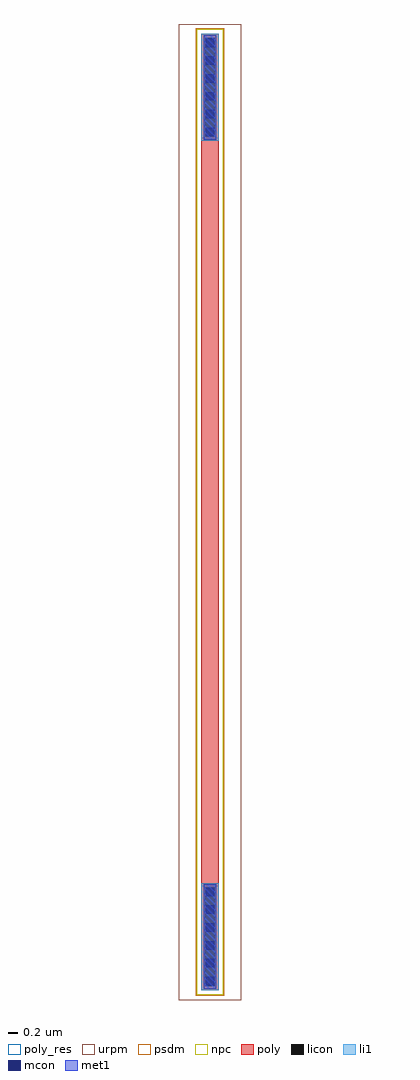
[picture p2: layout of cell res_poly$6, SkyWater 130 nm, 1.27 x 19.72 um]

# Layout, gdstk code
import gdstk
lib = gdstk.Library(unit=1e-6, precision=1e-09)
def R(c, l, rs):  # rectangles x0, y0, x1, y1
    for r in rs: c.add(gdstk.rectangle(r[:2], r[2:], *l))
def A(c, l, x, y, w, h, nx, ny, dx, dy):  # array of equal rectangles
    R(c, l, [(x+i*dx, y+j*dy, x+i*dx+w, y+j*dy+h) for i in range(nx) for j in range(ny)])
poly_res = (66, 13)
poly = (66, 20)
licon = (66, 44)
li1 = (67, 20)
mcon = (67, 44)
met1 = (68, 20)
urpm = (79, 20)
psdm = (94, 20)
npc = (95, 20)

res_poly_6 = lib.new_cell('res_poly$6')
R(res_poly_6, poly_res, [(-0.175,-7.56,0.175,7.56)])
R(res_poly_6, poly, [(-0.175,-9.66,0.175,9.66)])
R(res_poly_6, licon, [(-0.095,-9.58,0.095,-7.58), (-0.095,7.58,0.095,9.58)])
R(res_poly_6, li1, [(-0.175,-9.66,0.175,-7.5), (-0.175,7.5,0.175,9.66)])
A(res_poly_6, mcon, -0.085, -9.56, 0.17, 0.17, 1, 6, 0, 0.36)
A(res_poly_6, mcon, -0.085, 7.595, 0.17, 0.17, 1, 6, 0, 0.36)
R(res_poly_6, met1, [(-0.125,-9.63,0.125,-7.525), (-0.125,7.525,0.125,9.63)])
R(res_poly_6, urpm, [(-0.635,-9.86,0.635,9.86)])
R(res_poly_6, psdm, [(-0.285,-9.77,0.285,9.77)])
R(res_poly_6, npc, [(-0.27,-9.755,0.27,9.755)])

lib.write_gds('res_poly_6.gds')
